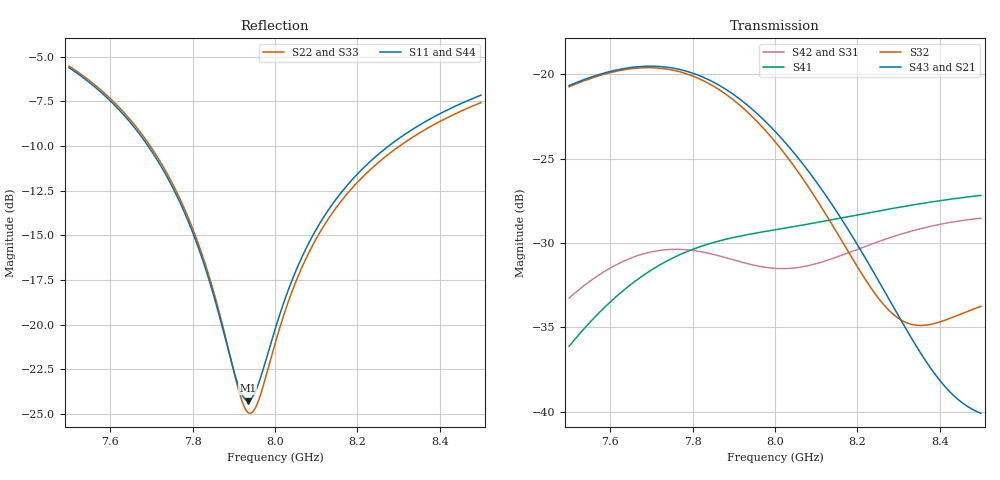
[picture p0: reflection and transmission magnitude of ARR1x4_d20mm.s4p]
! Touchstone file exported from HFSS 2025.1.0
!  File:  C:/Users/user/Documents/Ansoft/TFG_UWB-MIMO-Array.aedt
!  Generated:  05:34:59 PM Nov 20, 2026
!  Design:  ARR1x4_P01_MS2_dparam
!  Project:  TFG_UWB-MIMO-Array
!  Setup:  Setup_ch9
!  Solution:  Sweep_7p5_8p5
! Variables:
!  arr_d = 20mm
!  board_m = 13mm
!  board_x = 86mm
!  board_y = 26mm
!  cu_t = 0.035mm
!  line_w = 3.92mm
!  pad_xy = 22mm
!  pad_zn = 25mm
!  pad_zp = 33mm
!  patch_L = 7.322mm
!  patch_W = 11.421266mm
!  sub_h = 2.07mm
!  tr_l = 7.1mm
!  tr_w = 0.8mm
# GHz S MA R 50.000000
! Terminal data exported
! Port[1] = P1
! Port[2] = P2
! Port[3] = P3
! Port[4] = P4
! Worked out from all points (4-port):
!   1001 points, 7.5 GHz to 8.5 GHz, reference 50 ohm
!   strongest paths, dB at 7.5 GHz, 7.75 GHz, 8 GHz, 8.25 GHz, 8.5 GHz:
!     S43: -20.7, -19.6, -23.4, -32.2, -40.1
!     S21: -20.6, -19.6, -23.4, -32.2, -39.6
!     S32: -20.7, -19.7, -24.0, -33.2, -33.8
!     S41: -36.1, -30.9, -29.2, -28.1, -27.2
!     S42: -33.3, -30.4, -31.5, -29.9, -28.5
!     S31: -33.3, -30.4, -31.8, -30.1, -28.6
!   lowest |S11| = -24.2 dB at 7.934 GHz (marker M1), VSWR 1.13, Z = 56.2 + j1.93 ohm
!   |S11| at or under -10 dB: 7.692 GHz to 8.276 GHz (583.9 MHz wide, 7.31 % of centre)
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7.5  0.5238 156.4  0.09306 -56.9  0.02158 123.0  0.01561 -77.7
     0.09306 -56.9  0.5291 157.2  0.09177 -55.6  0.02171 122.2
     0.02158 123.0  0.09177 -55.6  0.5333 157.4  0.09262 -56.6
     0.01561 -77.7  0.02171 122.2  0.09262 -56.6  0.5229 156.3
7.754  0.239 115.3  0.1042 -114.9  0.03009 36.3  0.02861 -166.7
       0.1042 -114.9  0.2444 116.3  0.1027 -113.6  0.03027 35.1
       0.03009 36.3  0.1027 -113.6  0.2491 116.9  0.1042 -114.7
       0.02861 -166.7  0.03027 35.1  0.1042 -114.7  0.2375 114.7
7.934  0.06136 16.2  0.08053 -158.9  0.02687 -48.0  0.03347 114.4
       0.08053 -158.9  0.05687 21.3  0.07706 -157.0  0.02743 -49.3
       0.02687 -48.0  0.07706 -157.0  0.05709 25.4  0.0808 -159.0
       0.03347 114.4  0.02743 -49.3  0.0808 -159.0  0.06385 13.5
8.057  0.1472 -63.9  0.05597 175.6  0.02592 -112.5  0.03554 60.6
       0.05597 175.6  0.1375 -65.3  0.05116 180.0  0.02674 -113.2
       0.02592 -112.5  0.05116 180.0  0.1348 -64.8  0.0563 175.2
       0.03554 60.6  0.02674 -113.2  0.0563 175.2  0.1513 -63.6
8.153  0.2283 -82.8  0.03833 161.1  0.02796 -158.0  0.03733 21.9
       0.03833 161.1  0.2159 -83.9  0.0335 170.9  0.02879 -158.0
       0.02796 -158.0  0.0335 170.9  0.2139 -83.7  0.03861 160.3
       0.03733 21.9  0.02879 -158.0  0.03861 160.3  0.2323 -82.5
8.312  0.3389 -102.0  0.01815 154.6  0.03311 143.9  0.04054 -33.0
       0.01815 154.6  0.3219 -102.4  0.01851 -174.5  0.03374 144.6
       0.03311 143.9  0.01851 -174.5  0.3207 -102.3  0.01811 152.4
       0.04054 -33.0  0.03374 144.6  0.01811 152.4  0.3428 -101.8
8.5  0.4388 -119.3  0.01044 179.1  0.03705 95.2  0.04374 -84.9
     0.01044 179.1  0.4183 -118.8  0.02051 -158.3  0.03742 95.9
     0.03705 95.2  0.02051 -158.3  0.4176 -118.8  0.009879 177.4
     0.04374 -84.9  0.03742 95.9  0.009879 177.4  0.4423 -119.2
